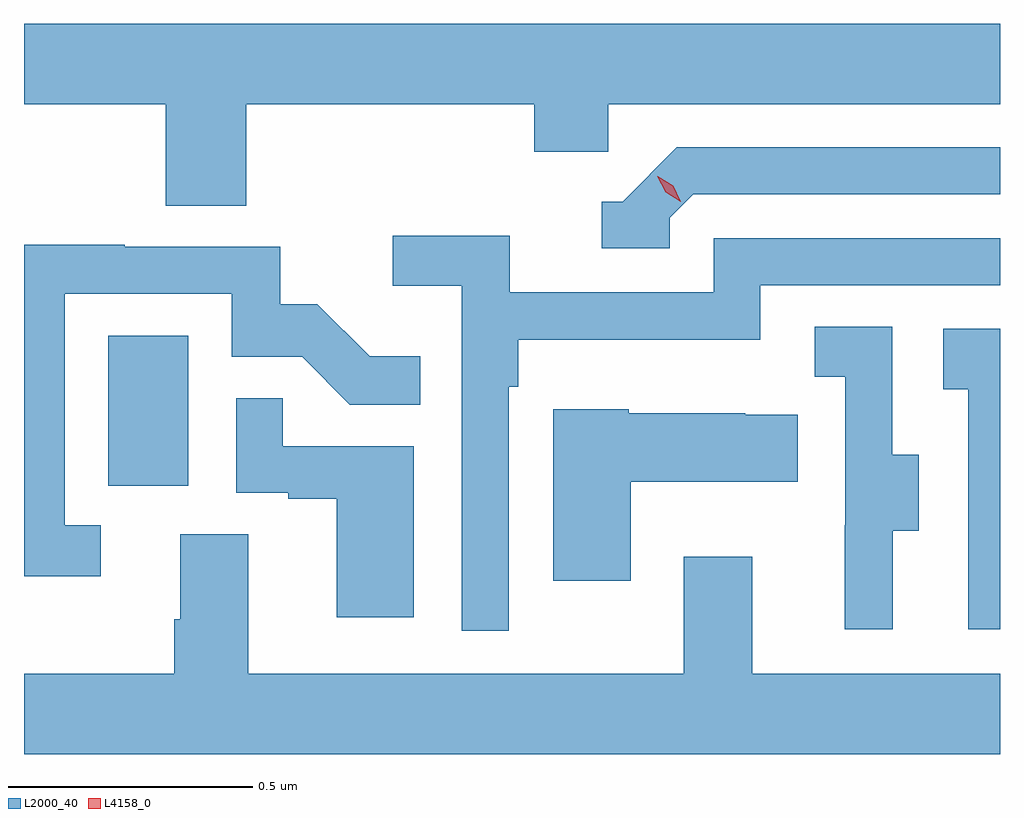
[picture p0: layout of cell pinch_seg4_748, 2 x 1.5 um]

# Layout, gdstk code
import gdstk
lib = gdstk.Library(unit=1e-6, precision=1e-09)
def R(c, l, rs):  # rectangles x0, y0, x1, y1
    for r in rs: c.add(gdstk.rectangle(r[:2], r[2:], *l))
def P(c, l, *ps):  # polygons
    for p in ps: c.add(gdstk.Polygon(p, *l))
L2000_40 = (2000, 40)
L4158_0 = (4158, 0)

pinch_seg4_748 = lib.new_cell('pinch_seg4_748')
R(pinch_seg4_748, L2000_40, [(861.29,828.006,861.454,828.313)])
P(pinch_seg4_748, L2000_40, [(861.572,828.788),(862.163,828.788),(862.163,828.69),(862.314,828.69),(862.314,828.788),(863.117,828.788),(863.117,828.952),(861.117,828.952),(861.117,828.788),(861.407,828.788),(861.407,828.58),(861.572,828.58)],
  [(862.44,828.555),(862.488,828.603),(863.117,828.603),(863.117,828.699),(862.455,828.699),(862.344,828.588),(862.301,828.588),(862.301,828.492),(862.44,828.492)],
  [(862.11,828.209),(862.13,828.209),(862.13,828.305),(862.626,828.305),(862.626,828.417),(863.117,828.417),(863.117,828.513),(862.53,828.513),(862.53,828.402),(862.112,828.402),(862.112,828.518),(861.873,828.518),(861.873,828.416),(862.014,828.416),(862.014,827.709),(862.11,827.709)],
  [(861.274,827.925),(861.201,827.925),(861.201,828.399),(861.543,828.399),(861.543,828.27),(861.687,828.27),(861.785,828.172),(861.929,828.172),(861.929,828.271),(861.825,828.271),(861.718,828.378),(861.642,828.378),(861.642,828.495),(861.323,828.495),(861.323,828.5),(861.117,828.5),(861.117,827.82),(861.274,827.82)],
  [(862.897,827.914),(862.951,827.914),(862.951,828.069),(862.896,828.069),(862.896,828.332),(862.737,828.332),(862.737,828.229),(862.8,828.229),(862.8,827.925),(862.799,827.925),(862.799,827.712),(862.897,827.712)],
  [(863.117,828.327),(863.001,828.327),(863.001,828.203),(863.052,828.203),(863.052,827.712),(863.117,827.712)],
  [(861.916,828.087),(861.647,828.087),(861.647,828.185),(861.552,828.185),(861.552,827.991),(861.659,827.991),(861.659,827.979),(861.758,827.979),(861.758,827.736),(861.916,827.736)],
  [(862.36,828.014),(862.703,828.014),(862.703,828.151),(862.595,828.151),(862.595,828.154),(862.356,828.154),(862.356,828.163),(862.202,828.163),(862.202,827.811),(862.36,827.811)],
  [(863.117,827.62),(862.609,827.62),(862.609,827.86),(862.469,827.86),(862.469,827.62),(861.577,827.62),(861.577,827.906),(861.437,827.906),(861.437,827.732),(861.425,827.732),(861.425,827.62),(861.117,827.62),(861.117,827.456),(863.117,827.456)])
P(pinch_seg4_748, L4158_0, [(862.463,828.588),(862.432,828.607),(862.415,828.64),(862.415,828.64),(862.416,828.64),(862.447,828.621),(862.463,828.588),(862.463,828.588)])

lib.write_gds('pinch_seg4_748.gds')
